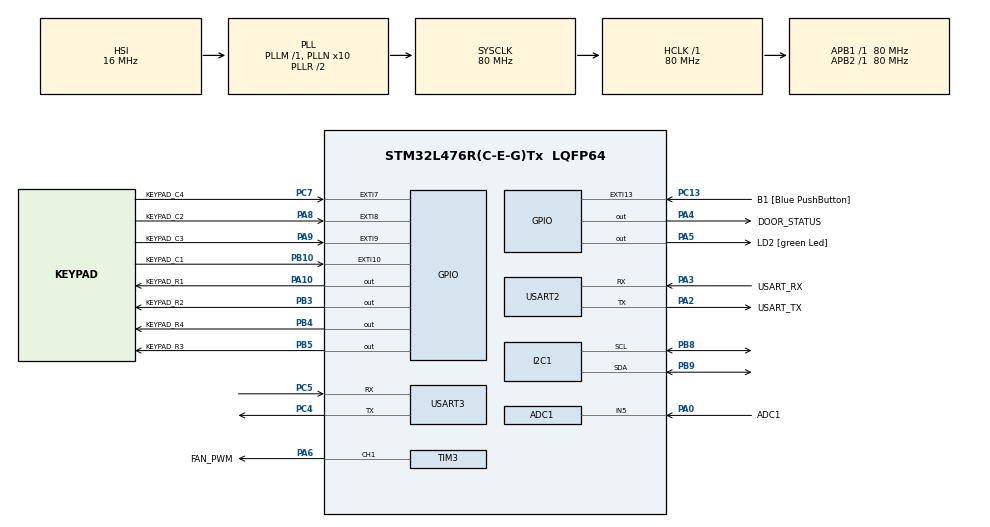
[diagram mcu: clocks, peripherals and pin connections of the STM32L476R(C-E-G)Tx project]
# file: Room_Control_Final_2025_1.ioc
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ADC1.Channel-1\#ChannelRegularConversion=ADC_CHANNEL_5
ADC1.NbrOfConversionFlag=1
ADC1.OffsetNumber-1\#ChannelRegularConversion=ADC_OFFSET_NONE
ADC1.Rank-1\#ChannelRegularConversion=1
ADC1.SamplingTime-1\#ChannelRegularConversion=ADC_SAMPLETIME_2CYCLES_5
ADC1.master=1
Dma.Request0=TIM3_CH1/TRIG
Dma.TIM3_CH1/TRIG.0.Direction=DMA_MEMORY_TO_PERIPH
Dma.TIM3_CH1/TRIG.0.Instance=DMA1_Channel6
Dma.TIM3_CH1/TRIG.0.MemDataAlignment=DMA_MDATAALIGN_HALFWORD
Dma.TIM3_CH1/TRIG.0.MemInc=DMA_MINC_ENABLE
Dma.TIM3_CH1/TRIG.0.Mode=DMA_NORMAL
Dma.TIM3_CH1/TRIG.0.PeriphDataAlignment=DMA_PDATAALIGN_HALFWORD
Dma.TIM3_CH1/TRIG.0.PeriphInc=DMA_PINC_DISABLE
Dma.TIM3_CH1/TRIG.0.Priority=DMA_PRIORITY_LOW
I2C1.Timing=0x10D19CE4
Mcu.Family=STM32L4
Mcu.Name=STM32L476R(C-E-G)Tx
Mcu.Package=LQFP64
NVIC.ADC1_2_IRQn=true\:0\:0\:false\:false\:true\:true\:true\:true
NVIC.DMA1_Channel6_IRQn=true\:0\:0\:false\:false\:true\:false\:true\:true
NVIC.EXTI15_10_IRQn=true\:0\:0\:false\:false\:true\:true\:true\:true
NVIC.EXTI9_5_IRQn=true\:0\:0\:false\:false\:true\:true\:true\:true
NVIC.PriorityGroup=NVIC_PRIORITYGROUP_4
NVIC.USART2_IRQn=true\:0\:0\:false\:false\:true\:true\:true\:true
NVIC.USART3_IRQn=true\:0\:0\:false\:false\:true\:true\:true\:true
PA0.GPIO_Label=ADC1
PA0.Signal=ADCx_IN5
PA10.GPIO_Label=KEYPAD_R1
PA10.Signal=GPIO_Output
PA13\ (JTMS-SWDIO).GPIO_Label=TMS
PA13\ (JTMS-SWDIO).Mode=Serial_Wire
PA13\ (JTMS-SWDIO).Signal=SYS_JTMS-SWDIO
PA14\ (JTCK-SWCLK).GPIO_Label=TCK
PA14\ (JTCK-SWCLK).Mode=Serial_Wire
PA14\ (JTCK-SWCLK).Signal=SYS_JTCK-SWCLK
PA2.GPIO_Label=USART_TX
PA2.GPIO_Mode=GPIO_MODE_AF_PP
PA2.GPIO_PuPd=GPIO_NOPULL
PA2.GPIO_Speed=GPIO_SPEED_FREQ_VERY_HIGH
PA2.Mode=Asynchronous
PA2.Signal=USART2_TX
PA3.GPIO_Label=USART_RX
PA3.GPIO_Mode=GPIO_MODE_AF_PP
PA3.GPIO_PuPd=GPIO_NOPULL
PA3.GPIO_Speed=GPIO_SPEED_FREQ_VERY_HIGH
PA3.Mode=Asynchronous
PA3.Signal=USART2_RX
PA4.GPIO_Label=DOOR_STATUS
PA4.Signal=GPIO_Output
PA5.GPIO_Label=LD2 [green Led]
PA5.GPIO_ModeDefaultOutputPP=GPIO_MODE_OUTPUT_PP
PA5.GPIO_PuPd=GPIO_NOPULL
PA5.GPIO_Speed=GPIO_SPEED_FREQ_LOW
PA5.Signal=GPIO_Output
PA6.GPIO_Label=FAN_PWM
PA6.Signal=S_TIM3_CH1
PA8.GPIO_Label=KEYPAD_C2
PA8.GPIO_ModeDefaultEXTI=GPIO_MODE_IT_FALLING
PA8.GPIO_PuPd=GPIO_PULLUP
PA8.Signal=GPXTI8
PA9.GPIO_Label=KEYPAD_C3
PA9.GPIO_ModeDefaultEXTI=GPIO_MODE_IT_FALLING
PA9.GPIO_PuPd=GPIO_PULLUP
PA9.Signal=GPXTI9
PB10.GPIO_Label=KEYPAD_C1
PB10.GPIO_ModeDefaultEXTI=GPIO_MODE_IT_FALLING
PB10.GPIO_PuPd=GPIO_PULLUP
PB10.Signal=GPXTI10
PB3\ (JTDO-TRACESWO).GPIO_Label=KEYPAD_R2
PB3\ (JTDO-TRACESWO).Signal=GPIO_Output
PB4\ (NJTRST).GPIO_Label=KEYPAD_R4
PB4\ (NJTRST).Signal=GPIO_Output
PB5.GPIO_Label=KEYPAD_R3
PB5.Signal=GPIO_Output
PB8.Mode=I2C
PB8.Signal=I2C1_SCL
PB9.Mode=I2C
PB9.Signal=I2C1_SDA
PC13.GPIO_Label=B1 [Blue PushButton]
PC13.GPIO_ModeDefaultEXTI=GPIO_MODE_IT_FALLING
PC13.GPIO_PuPd=GPIO_NOPULL
PC13.Signal=GPXTI13
PC14-OSC32_IN\ (PC14).Mode=LSE-External-Oscillator
PC14-OSC32_IN\ (PC14).Signal=RCC_OSC32_IN
PC15-OSC32_OUT\ (PC15).Mode=LSE-External-Oscillator
PC15-OSC32_OUT\ (PC15).Signal=RCC_OSC32_OUT
PC4.Mode=Asynchronous
PC4.Signal=USART3_TX
PC5.Mode=Asynchronous
PC5.Signal=USART3_RX
PC7.GPIO_Label=KEYPAD_C4
PC7.GPIO_ModeDefaultEXTI=GPIO_MODE_IT_FALLING
PC7.GPIO_PuPd=GPIO_PULLUP
PC7.Signal=GPXTI7
PH0-OSC_IN\ (PH0).Signal=RCC_OSC_IN
PH1-OSC_OUT\ (PH1).Signal=RCC_OSC_OUT
ProjectManager.HeapSize=0x200
ProjectManager.StackSize=0x400
ProjectManager.TargetToolchain=CMake
RCC.ADCFreq_Value=64000000
RCC.AHBFreq_Value=80000000
RCC.APB1Freq_Value=80000000
RCC.APB1TimFreq_Value=80000000
RCC.APB2Freq_Value=80000000
RCC.APB2TimFreq_Value=80000000
RCC.CortexFreq_Value=80000000
RCC.HCLKFreq_Value=80000000
RCC.HSE_VALUE=8000000
RCC.HSI_VALUE=16000000
RCC.MSI_VALUE=4000000
RCC.PLLN=10
RCC.PLLSourceVirtual=RCC_PLLSOURCE_HSI
RCC.PREFETCH_ENABLE=1
RCC.SYSCLKFreq_VALUE=80000000
RCC.SYSCLKSource=RCC_SYSCLKSOURCE_PLLCLK
RCC.USBFreq_Value=64000000
RCC.VCOOutputFreq_Value=160000000
SH.ADCx_IN5.0=ADC1_IN5,IN5-Single-Ended
SH.S_TIM3_CH1.0=TIM3_CH1,PWM Generation1 CH1
TIM3.Channel-PWM\ Generation1\ CH1=TIM_CHANNEL_1
TIM3.Period=100 - 1
TIM3.Prescaler=8000 - 1
USART2.VirtualMode-Asynchronous=VM_ASYNC
USART3.VirtualMode-Asynchronous=VM_ASYNC
board=NUCLEO-L476RG

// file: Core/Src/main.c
/* USER CODE BEGIN Header */
/**
 **************************
 * @file           : main.c
 * @brief          : Main program body
 **************************
 * @attention
 *
 * Copyright (c) 2025 STMicroelectronics.
 * All rights reserved.
 *
 * This software is licensed under terms that can be found in the LICENSE file
 * in the root directory of this software component.
 * If no LICENSE file comes with this software, it is provided AS-IS.
 *
 **************************
 */
/* USER CODE END Header */
#include "main.h"
#include "stm32l4xx_hal.h"

/* USER CODE BEGIN Includes */
#include "led.h"
#include "keypad.h"
#include "ring_buffer.h"
#include "room_control.h"
#include <stdio.h>
#include <string.h>

#include "ssd1306.h"
#include "ssd1306_fonts.h"
#include "temperature_sensor.h"
#include "command_parser.h"

/* USER CODE END Includes */

ADC_HandleTypeDef hadc1;

I2C_HandleTypeDef hi2c1;

TIM_HandleTypeDef htim3;
DMA_HandleTypeDef hdma_tim3_ch1_trig;

UART_HandleTypeDef huart2;
UART_HandleTypeDef huart3;

/* USER CODE BEGIN PV */
uint8_t button_pressed = 0; // Flag to indicate if the button is pressed

led_handle_t led_access = {
    .port = GPIOA,
    .pin = GPIO_PIN_4};

led_handle_t heartbeat_led = {
    .port = LD2_GPIO_Port,
    .pin = LD2_Pin};
uint8_t usart_2_rxbyte = 0; // Variable to hold received byte from UART2
uint8_t usart_3_rxbyte = 0; // Variable to hold received byte from UART3
uint8_t rx_byte_esp01 = 0;  // Variable to hold received byte for ESP-01 (USART3)

keypad_handle_t keypad = {
    .row_ports = {KEYPAD_R1_GPIO_Port, KEYPAD_R2_GPIO_Port, KEYPAD_R3_GPIO_Port, KEYPAD_R4_GPIO_Port},
    .row_pins = {KEYPAD_R1_Pin, KEYPAD_R2_Pin, KEYPAD_R3_Pin, KEYPAD_R4_Pin},
    .col_ports = {KEYPAD_C1_GPIO_Port, KEYPAD_C2_GPIO_Port, KEYPAD_C3_GPIO_Port, KEYPAD_C4_GPIO_Port},
    .col_pins = {KEYPAD_C1_Pin, KEYPAD_C2_Pin, KEYPAD_C3_Pin, KEYPAD_C4_Pin}};

#define KEYPAD_BUFFER_LEN 16
uint8_t keypad_buffer[KEYPAD_BUFFER_LEN];
ring_buffer_t keypad_rb;

volatile uint16_t keypad_interrupt_pin = 0;

// Room control system instance
room_control_t room_system;
/* USER CODE END PV */

void SystemClock_Config(void);
static void MX_GPIO_Init(void);
static void MX_DMA_Init(void);
static void MX_I2C1_Init(void);
static void MX_TIM3_Init(void);
static void MX_ADC1_Init(void);
static void MX_USART3_UART_Init(void);
static void MX_USART2_UART_Init(void);

/* USER CODE BEGIN 0 */
void HAL_GPIO_EXTI_Callback(uint16_t GPIO_Pin)
{
  if (GPIO_Pin == B1_Pin)
  {
    button_pressed = 1; // Set the flag when the button is pressed
  }
  else
  {
    keypad_interrupt_pin = GPIO_Pin;
  }
}

void HAL_UART_RxCpltCallback(UART_HandleTypeDef *huart)
{
  if (huart->Instance == USART3)
  {
    command_parser_process_esp01(usart_3_rxbyte);
    HAL_UART_Receive_IT(&huart3, &usart_3_rxbyte, 1);
  }
  else if (huart->Instance == USART2)
  {
    command_parser_process_debug(usart_2_rxbyte);
    HAL_UART_Receive_IT(&huart2, &usart_2_rxbyte, 1);
  }
}

void heartbeat(void)
{
  static uint32_t last_toggle = 0;
  if (HAL_GetTick() - last_toggle >= 500)
  {                             // Toggle every 500 ms
    led_toggle(&heartbeat_led); // Toggle the heartbeat LED
    last_toggle = HAL_GetTick();
  }
}

void write_to_oled(char *message, SSD1306_COLOR color, uint8_t x, uint8_t y)
{
  ssd1306_Fill(Black);     // Clear the display
  ssd1306_SetCursor(x, y); // Set cursor to the specified position
  ssd1306_WriteString(message, Font_11x18, color);
  ssd1306_UpdateScreen(); // Update the display to show the message
}
void command_parser(void)
{

}

/* USER CODE END 0 */

int main(void)
{

  /* MCU Configuration--------------------------------------------------------*/

  /* Reset of all peripherals, Initializes the Flash interface and the Systick. */
  HAL_Init();

  /* Configure the system clock */
  SystemClock_Config();

  /* Initialize all configured peripherals */
  MX_GPIO_Init();
  MX_DMA_Init();
  MX_I2C1_Init();
  MX_TIM3_Init();
  MX_ADC1_Init();
  MX_USART3_UART_Init();
  MX_USART2_UART_Init();
  /* USER CODE BEGIN 2 */

  ssd1306_Init();
  HAL_UART_Receive_IT(&huart3, &usart_3_rxbyte, 1);
  HAL_UART_Receive_IT(&huart2, &usart_2_rxbyte, 1);

  ring_buffer_init(&keypad_rb, keypad_buffer, KEYPAD_BUFFER_LEN);
  keypad_init(&keypad);

  room_control_init(&room_system);
  /* USER CODE END 2 */

  /* Infinite loop */
  /* USER CODE BEGIN WHILE */
  // Clear the display
  ssd1306_Fill(Black);
  // Display a message on the OLED
  ssd1306_SetCursor(10, 10); // Set cursor para evitar corte superior
  ssd1306_WriteString("SISTEMA ", Font_11x18, White);
  ssd1306_SetCursor(10, 30);
  ssd1306_WriteString("BLOQUEADO", Font_11x18, White); // Display "BLOQUEADO" on the OLED
  ssd1306_UpdateScreen();                              // Update the display to show the message

  while (1)
  {
    // Leer sensor de temperatura y actualizar sistema antes de actualizar la lógica
    float temperature = temperature_sensor_read();
    room_control_set_temperature(&room_system, temperature);

    // Entrar en modo Sleep, se detiene la CPU hasta la próxima interrupción (EXTI)
    HAL_PWR_EnterSLEEPMode(PWR_MAINREGULATOR_ON, PWR_SLEEPENTRY_WFI);

    heartbeat(); // Call the heartbeat function to toggle the LED

    // Actualizar la lógica del sistema (incluye display)
    room_control_update(&room_system);

    // Keypad funcionalidad
    if (keypad_interrupt_pin != 0)
    {
      char key = keypad_scan(&keypad, keypad_interrupt_pin);
      if (key != '\0')
      {
        write_to_oled(&key, White, 31, 31);
        room_control_process_key(&room_system, key);
      }
      keypad_interrupt_pin = 0;
    }

    command_parser(); // Procesar comandos de UART2 y UART3
    /* USER CODE END WHILE */

  }
}

void SystemClock_Config(void)
{
  RCC_OscInitTypeDef RCC_OscInitStruct = {0};
  RCC_ClkInitTypeDef RCC_ClkInitStruct = {0};

  /** Configure the main internal regulator output voltage
   */
  if (HAL_PWREx_ControlVoltageScaling(PWR_REGULATOR_VOLTAGE_SCALE1) != HAL_OK)
  {
    Error_Handler();
  }

  /** Initializes the RCC Oscillators according to the specified parameters
   * in the RCC_OscInitTypeDef structure.
   */
  RCC_OscInitStruct.OscillatorType = RCC_OSCILLATORTYPE_HSI;
  RCC_OscInitStruct.HSIState = RCC_HSI_ON;
  RCC_OscInitStruct.HSICalibrationValue = RCC_HSICALIBRATION_DEFAULT;
  RCC_OscInitStruct.PLL.PLLState = RCC_PLL_ON;
  RCC_OscInitStruct.PLL.PLLSource = RCC_PLLSOURCE_HSI;
  RCC_OscInitStruct.PLL.PLLM = 1;
  RCC_OscInitStruct.PLL.PLLN = 10;
  RCC_OscInitStruct.PLL.PLLP = RCC_PLLP_DIV7;
  RCC_OscInitStruct.PLL.PLLQ = RCC_PLLQ_DIV2;
  RCC_OscInitStruct.PLL.PLLR = RCC_PLLR_DIV2;
  if (HAL_RCC_OscConfig(&RCC_OscInitStruct) != HAL_OK)
  {
    Error_Handler();
  }

  /** Initializes the CPU, AHB and APB buses clocks
   */
  RCC_ClkInitStruct.ClockType = RCC_CLOCKTYPE_HCLK | RCC_CLOCKTYPE_SYSCLK | RCC_CLOCKTYPE_PCLK1 | RCC_CLOCKTYPE_PCLK2;
  RCC_ClkInitStruct.SYSCLKSource = RCC_SYSCLKSOURCE_PLLCLK;
  RCC_ClkInitStruct.AHBCLKDivider = RCC_SYSCLK_DIV1;
  RCC_ClkInitStruct.APB1CLKDivider = RCC_HCLK_DIV1;
  RCC_ClkInitStruct.APB2CLKDivider = RCC_HCLK_DIV1;

  if (HAL_RCC_ClockConfig(&RCC_ClkInitStruct, FLASH_LATENCY_4) != HAL_OK)
  {
    Error_Handler();
  }
}

static void MX_ADC1_Init(void)
{

  ADC_MultiModeTypeDef multimode = {0};
  ADC_ChannelConfTypeDef sConfig = {0};

  /** Common config
   */
  hadc1.Instance = ADC1;
  hadc1.Init.ClockPrescaler = ADC_CLOCK_ASYNC_DIV1;
  hadc1.Init.Resolution = ADC_RESOLUTION_12B;
  hadc1.Init.DataAlign = ADC_DATAALIGN_RIGHT;
  hadc1.Init.ScanConvMode = ADC_SCAN_DISABLE;
  hadc1.Init.EOCSelection = ADC_EOC_SINGLE_CONV;
  hadc1.Init.LowPowerAutoWait = DISABLE;
  hadc1.Init.ContinuousConvMode = DISABLE;
  hadc1.Init.NbrOfConversion = 1;
  hadc1.Init.DiscontinuousConvMode = DISABLE;
  hadc1.Init.ExternalTrigConv = ADC_SOFTWARE_START;
  hadc1.Init.ExternalTrigConvEdge = ADC_EXTERNALTRIGCONVEDGE_NONE;
  hadc1.Init.DMAContinuousRequests = DISABLE;
  hadc1.Init.Overrun = ADC_OVR_DATA_PRESERVED;
  hadc1.Init.OversamplingMode = DISABLE;
  if (HAL_ADC_Init(&hadc1) != HAL_OK)
  {
    Error_Handler();
  }

  /** Configure the ADC multi-mode
   */
  multimode.Mode = ADC_MODE_INDEPENDENT;
  if (HAL_ADCEx_MultiModeConfigChannel(&hadc1, &multimode) != HAL_OK)
  {
    Error_Handler();
  }

  /** Configure Regular Channel
   */
  sConfig.Channel = ADC_CHANNEL_5;
  sConfig.Rank = ADC_REGULAR_RANK_1;
  sConfig.SamplingTime = ADC_SAMPLETIME_2CYCLES_5;
  sConfig.SingleDiff = ADC_SINGLE_ENDED;
  sConfig.OffsetNumber = ADC_OFFSET_NONE;
  sConfig.Offset = 0;
  if (HAL_ADC_ConfigChannel(&hadc1, &sConfig) != HAL_OK)
  {
    Error_Handler();
  }
}

static void MX_I2C1_Init(void)
{

  hi2c1.Instance = I2C1;
  hi2c1.Init.Timing = 0x10D19CE4;
  hi2c1.Init.OwnAddress1 = 0;
  hi2c1.Init.AddressingMode = I2C_ADDRESSINGMODE_7BIT;
  hi2c1.Init.DualAddressMode = I2C_DUALADDRESS_DISABLE;
  hi2c1.Init.OwnAddress2 = 0;
  hi2c1.Init.OwnAddress2Masks = I2C_OA2_NOMASK;
  hi2c1.Init.GeneralCallMode = I2C_GENERALCALL_DISABLE;
  hi2c1.Init.NoStretchMode = I2C_NOSTRETCH_DISABLE;
  if (HAL_I2C_Init(&hi2c1) != HAL_OK)
  {
    Error_Handler();
  }

  /** Configure Analogue filter
   */
  if (HAL_I2CEx_ConfigAnalogFilter(&hi2c1, I2C_ANALOGFILTER_ENABLE) != HAL_OK)
  {
    Error_Handler();
  }

  /** Configure Digital filter
   */
  if (HAL_I2CEx_ConfigDigitalFilter(&hi2c1, 0) != HAL_OK)
  {
    Error_Handler();
  }
}

static void MX_TIM3_Init(void)
{

  TIM_MasterConfigTypeDef sMasterConfig = {0};
  TIM_OC_InitTypeDef sConfigOC = {0};

  htim3.Instance = TIM3;
  htim3.Init.Prescaler = 8000 - 1;
  htim3.Init.CounterMode = TIM_COUNTERMODE_UP;
  htim3.Init.Period = 100 - 1;
  htim3.Init.ClockDivision = TIM_CLOCKDIVISION_DIV1;
  htim3.Init.AutoReloadPreload = TIM_AUTORELOAD_PRELOAD_DISABLE;
  if (HAL_TIM_PWM_Init(&htim3) != HAL_OK)
  {
    Error_Handler();
  }
  sMasterConfig.MasterOutputTrigger = TIM_TRGO_RESET;
  sMasterConfig.MasterSlaveMode = TIM_MASTERSLAVEMODE_DISABLE;
  if (HAL_TIMEx_MasterConfigSynchronization(&htim3, &sMasterConfig) != HAL_OK)
  {
    Error_Handler();
  }
  sConfigOC.OCMode = TIM_OCMODE_PWM1;
  sConfigOC.Pulse = 0;
  sConfigOC.OCPolarity = TIM_OCPOLARITY_HIGH;
  sConfigOC.OCFastMode = TIM_OCFAST_DISABLE;
  if (HAL_TIM_PWM_ConfigChannel(&htim3, &sConfigOC, TIM_CHANNEL_1) != HAL_OK)
  {
    Error_Handler();
  }
  HAL_TIM_MspPostInit(&htim3);
}

static void MX_USART2_UART_Init(void)
{

  huart2.Instance = USART2;
  huart2.Init.BaudRate = 115200;
  huart2.Init.WordLength = UART_WORDLENGTH_8B;
  huart2.Init.StopBits = UART_STOPBITS_1;
  huart2.Init.Parity = UART_PARITY_NONE;
  huart2.Init.Mode = UART_MODE_TX_RX;
  huart2.Init.HwFlowCtl = UART_HWCONTROL_NONE;
  huart2.Init.OverSampling = UART_OVERSAMPLING_16;
  huart2.Init.OneBitSampling = UART_ONE_BIT_SAMPLE_DISABLE;
  huart2.AdvancedInit.AdvFeatureInit = UART_ADVFEATURE_NO_INIT;
  if (HAL_UART_Init(&huart2) != HAL_OK)
  {
    Error_Handler();
  }
}

static void MX_USART3_UART_Init(void)
{

  huart3.Instance = USART3;
  huart3.Init.BaudRate = 115200;
  huart3.Init.WordLength = UART_WORDLENGTH_8B;
  huart3.Init.StopBits = UART_STOPBITS_1;
  huart3.Init.Parity = UART_PARITY_NONE;
  huart3.Init.Mode = UART_MODE_TX_RX;
  huart3.Init.HwFlowCtl = UART_HWCONTROL_NONE;
  huart3.Init.OverSampling = UART_OVERSAMPLING_16;
  huart3.Init.OneBitSampling = UART_ONE_BIT_SAMPLE_DISABLE;
  huart3.AdvancedInit.AdvFeatureInit = UART_ADVFEATURE_NO_INIT;
  if (HAL_UART_Init(&huart3) != HAL_OK)
  {
    Error_Handler();
  }
}

static void MX_DMA_Init(void)
{

  /* DMA controller clock enable */
  __HAL_RCC_DMA1_CLK_ENABLE();

  /* DMA interrupt init */
  /* DMA1_Channel6_IRQn interrupt configuration */
  HAL_NVIC_SetPriority(DMA1_Channel6_IRQn, 0, 0);
  HAL_NVIC_EnableIRQ(DMA1_Channel6_IRQn);
}

static void MX_GPIO_Init(void)
{
  GPIO_InitTypeDef GPIO_InitStruct = {0};

  /* GPIO Ports Clock Enable */
  __HAL_RCC_GPIOC_CLK_ENABLE();
  __HAL_RCC_GPIOH_CLK_ENABLE();
  __HAL_RCC_GPIOA_CLK_ENABLE();
  __HAL_RCC_GPIOB_CLK_ENABLE();

  /*Configure GPIO pin Output Level */
  HAL_GPIO_WritePin(GPIOA, DOOR_STATUS_Pin | LD2_Pin | KEYPAD_R1_Pin, GPIO_PIN_RESET);

  /*Configure GPIO pin Output Level */
  HAL_GPIO_WritePin(GPIOB, KEYPAD_R2_Pin | KEYPAD_R4_Pin | KEYPAD_R3_Pin, GPIO_PIN_RESET);

  /*Configure GPIO pin : B1_Pin */
  GPIO_InitStruct.Pin = B1_Pin;
  GPIO_InitStruct.Mode = GPIO_MODE_IT_FALLING;
  GPIO_InitStruct.Pull = GPIO_NOPULL;
  HAL_GPIO_Init(B1_GPIO_Port, &GPIO_InitStruct);

  /*Configure GPIO pins : DOOR_STATUS_Pin LD2_Pin KEYPAD_R1_Pin */
  GPIO_InitStruct.Pin = DOOR_STATUS_Pin | LD2_Pin | KEYPAD_R1_Pin;
  GPIO_InitStruct.Mode = GPIO_MODE_OUTPUT_PP;
  GPIO_InitStruct.Pull = GPIO_NOPULL;
  GPIO_InitStruct.Speed = GPIO_SPEED_FREQ_LOW;
  HAL_GPIO_Init(GPIOA, &GPIO_InitStruct);

  /*Configure GPIO pin : KEYPAD_C1_Pin */
  GPIO_InitStruct.Pin = KEYPAD_C1_Pin;
  GPIO_InitStruct.Mode = GPIO_MODE_IT_FALLING;
  GPIO_InitStruct.Pull = GPIO_PULLUP;
  HAL_GPIO_Init(KEYPAD_C1_GPIO_Port, &GPIO_InitStruct);

  /*Configure GPIO pin : KEYPAD_C4_Pin */
  GPIO_InitStruct.Pin = KEYPAD_C4_Pin;
  GPIO_InitStruct.Mode = GPIO_MODE_IT_FALLING;
  GPIO_InitStruct.Pull = GPIO_PULLUP;
  HAL_GPIO_Init(KEYPAD_C4_GPIO_Port, &GPIO_InitStruct);

  /*Configure GPIO pins : KEYPAD_C2_Pin KEYPAD_C3_Pin */
  GPIO_InitStruct.Pin = KEYPAD_C2_Pin | KEYPAD_C3_Pin;
  GPIO_InitStruct.Mode = GPIO_MODE_IT_FALLING;
  GPIO_InitStruct.Pull = GPIO_PULLUP;
  HAL_GPIO_Init(GPIOA, &GPIO_InitStruct);

  /*Configure GPIO pins : KEYPAD_R2_Pin KEYPAD_R4_Pin KEYPAD_R3_Pin */
  GPIO_InitStruct.Pin = KEYPAD_R2_Pin | KEYPAD_R4_Pin | KEYPAD_R3_Pin;
  GPIO_InitStruct.Mode = GPIO_MODE_OUTPUT_PP;
  GPIO_InitStruct.Pull = GPIO_NOPULL;
  GPIO_InitStruct.Speed = GPIO_SPEED_FREQ_LOW;
  HAL_GPIO_Init(GPIOB, &GPIO_InitStruct);

  /* EXTI interrupt init*/
  HAL_NVIC_SetPriority(EXTI9_5_IRQn, 0, 0);
  HAL_NVIC_EnableIRQ(EXTI9_5_IRQn);

  HAL_NVIC_SetPriority(EXTI15_10_IRQn, 0, 0);
  HAL_NVIC_EnableIRQ(EXTI15_10_IRQn);

}

void Error_Handler(void)
{
  __disable_irq();
  while (1)
  {
  }
}
